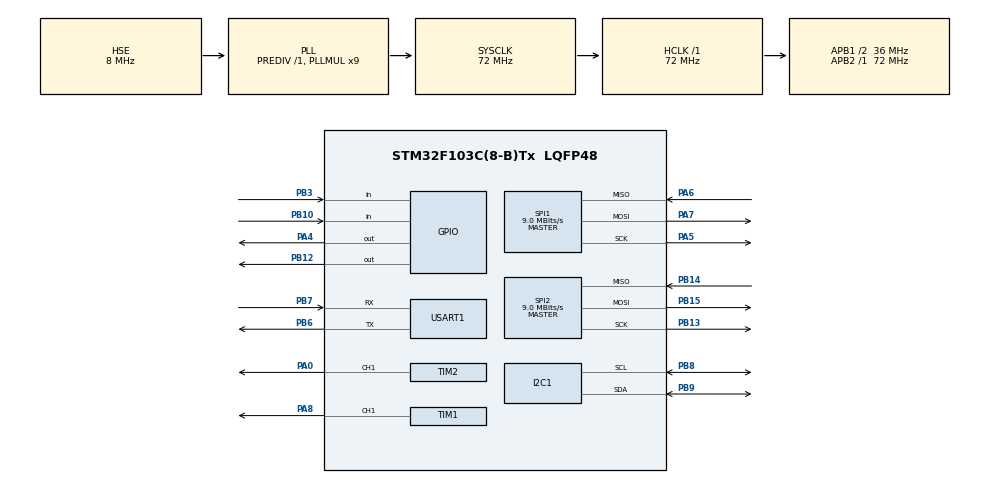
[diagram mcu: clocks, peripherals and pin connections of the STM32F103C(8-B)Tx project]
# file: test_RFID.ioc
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Mcu.Family=STM32F1
Mcu.Name=STM32F103C(8-B)Tx
Mcu.Package=LQFP48
NVIC.PriorityGroup=NVIC_PRIORITYGROUP_4
PA0-WKUP.Signal=S_TIM2_CH1_ETR
PA13.Mode=Serial_Wire
PA13.Signal=SYS_JTMS-SWDIO
PA14.Mode=Serial_Wire
PA14.Signal=SYS_JTCK-SWCLK
PA4.Signal=GPIO_Output
PA5.Mode=Full_Duplex_Master
PA5.Signal=SPI1_SCK
PA6.Mode=Full_Duplex_Master
PA6.Signal=SPI1_MISO
PA7.Mode=Full_Duplex_Master
PA7.Signal=SPI1_MOSI
PA8.Signal=S_TIM1_CH1
PB10.Signal=GPIO_Input
PB12.Signal=GPIO_Output
PB13.Mode=Full_Duplex_Master
PB13.Signal=SPI2_SCK
PB14.Mode=Full_Duplex_Master
PB14.Signal=SPI2_MISO
PB15.Mode=Full_Duplex_Master
PB15.Signal=SPI2_MOSI
PB3.Signal=GPIO_Input
PB6.Mode=Asynchronous
PB6.Signal=USART1_TX
PB7.Mode=Asynchronous
PB7.Signal=USART1_RX
PB8.Mode=I2C
PB8.Signal=I2C1_SCL
PB9.Mode=I2C
PB9.Signal=I2C1_SDA
PD0-OSC_IN.Mode=HSE-External-Oscillator
PD0-OSC_IN.Signal=RCC_OSC_IN
PD1-OSC_OUT.Mode=HSE-External-Oscillator
PD1-OSC_OUT.Signal=RCC_OSC_OUT
ProjectManager.HeapSize=0x200
ProjectManager.StackSize=0x400
ProjectManager.TargetToolchain=MDK-ARM V5
RCC.AHBFreq_Value=72000000
RCC.APB1CLKDivider=RCC_HCLK_DIV2
RCC.APB1Freq_Value=36000000
RCC.APB1TimFreq_Value=72000000
RCC.APB2Freq_Value=72000000
RCC.APB2TimFreq_Value=72000000
RCC.HCLKFreq_Value=72000000
RCC.PLLMUL=RCC_PLL_MUL9
RCC.PLLSourceVirtual=RCC_PLLSOURCE_HSE
RCC.SYSCLKFreq_VALUE=72000000
RCC.SYSCLKSource=RCC_SYSCLKSOURCE_PLLCLK
RCC.USBFreq_Value=72000000
SH.S_TIM1_CH1.0=TIM1_CH1,PWM Generation1 CH1
SH.S_TIM2_CH1_ETR.0=TIM2_CH1,PWM Generation1 CH1
SPI1.BaudRatePrescaler=SPI_BAUDRATEPRESCALER_8
SPI1.CalculateBaudRate=9.0 MBits/s
SPI1.Direction=SPI_DIRECTION_2LINES
SPI1.Mode=SPI_MODE_MASTER
SPI1.VirtualType=VM_MASTER
SPI2.BaudRatePrescaler=SPI_BAUDRATEPRESCALER_4
SPI2.CalculateBaudRate=9.0 MBits/s
SPI2.Direction=SPI_DIRECTION_2LINES
SPI2.Mode=SPI_MODE_MASTER
SPI2.VirtualType=VM_MASTER
TIM1.Channel-PWM\ Generation1\ CH1=TIM_CHANNEL_1
TIM1.Period=1000
TIM1.Prescaler=1440-1
TIM2.Channel-PWM\ Generation1\ CH1=TIM_CHANNEL_1
TIM2.Period=1000
TIM2.Prescaler=1440-1
USART1.VirtualMode=VM_ASYNC
board=custom

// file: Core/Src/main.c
/* USER CODE BEGIN Header */
/**
  ******************************************************************************
  * @file           : main.c
  * @brief          : Main program body
  ******************************************************************************
  * @attention
  *
  * <h2><center>&copy; Copyright (c) 2021 STMicroelectronics.
  * All rights reserved.</center></h2>
  *
  * This software component is licensed by ST under BSD 3-Clause license,
  * the "License"; You may not use this file except in compliance with the
  * License. You may obtain a copy of the License at:
  *                        opensource.org/licenses/BSD-3-Clause
  *
  ******************************************************************************
  */
/* USER CODE END Header */
#include "main.h"

/* USER CODE BEGIN Includes */

#include "stm32f1_rc522_spi1.h"
#include "stm32f1_rc522_spi2.h"
#include "i2c-lcd.h"
#include "stdio.h"
#include "string.h"

/* USER CODE END Includes */

/* USER CODE BEGIN PTD */

typedef struct {
	uint8_t seconds;
	uint8_t minutes;
	uint8_t hour;
	uint8_t dayofweek;
	uint8_t dayofmonth;
	uint8_t month;
	uint8_t year;
} TIME;

/* USER CODE END PTD */

/* USER CODE BEGIN PD */

/*Define address of module DS3231*/
#define DS3231_ADDRESS 0xD0U

/*Define status of sensor*/
#define VEHICLE_IN     0x00U
#define VEHICLE_OUT    0x01U

/* USER CODE END PD */

/* USER CODE BEGIN PM */

/*Macro to read sensor*/
#define STATUS_SENSOR_IN  ( HAL_GPIO_ReadPin(GPIOB,GPIO_PIN_10) )
#define STATUS_SENSOR_OUT ( HAL_GPIO_ReadPin(GPIOB,GPIO_PIN_3) )

/* USER CODE END PM */

I2C_HandleTypeDef hi2c1;

SPI_HandleTypeDef hspi1;
SPI_HandleTypeDef hspi2;

TIM_HandleTypeDef htim1;
TIM_HandleTypeDef htim2;

UART_HandleTypeDef huart1;

/* USER CODE BEGIN PV */

	TIME time;
	float TEMP;
	char buffer[15];
	uint8_t cardStatusIn;
	uint8_t bufferIn[MAX_LEN]; // Max_LEN = 16
	uint8_t serNumIn[5];

	uint8_t cardStatusOut;
	uint8_t bufferOut[MAX_LEN]; // Max_LEN = 16
	uint8_t serNumOut[5];

/* USER CODE END PV */

void SystemClock_Config(void);
static void MX_GPIO_Init(void);
static void MX_SPI2_Init(void);
static void MX_SPI1_Init(void);
static void MX_I2C1_Init(void);
static void MX_TIM1_Init(void);
static void MX_TIM2_Init(void);
static void MX_USART1_UART_Init(void);
/* USER CODE BEGIN PFP */

/*******************************************************************************
		API control servo motor
*******************************************************************************/
void openGateIn(void);
void closeGateIn(void);
void openGateOut(void);
void closeGateOut(void);

/*******************************************************************************
* API of module DS3231
*******************************************************************************/
uint8_t decToBcd(int val);
int bcdToDec(uint8_t val);
void Set_Time (uint8_t sec, uint8_t min, uint8_t hour, uint8_t dow, uint8_t dom, uint8_t month, uint8_t year);
void Get_Time (void);
float Get_Temp (void);
void force_temp_conv (void);

/*******************************************************************************
* API of module RFID
*******************************************************************************/
uint8_t getID_In(void);
uint8_t getID_OUT(void);

/*******************************************************************************
		API of modul UART
*******************************************************************************/
int fputc(int c, FILE * stream);

/* USER CODE END PFP */

/* USER CODE BEGIN 0 */

/*******************************************************************************
* API of module RFID
*******************************************************************************/
uint8_t getID_In(void)
{
	cardStatusIn = MFRC522_Request(PICC_REQIDL, bufferIn);
	cardStatusIn = MFRC522_Anticoll(bufferIn);
	memcpy(serNumIn, bufferIn, 5);

		return cardStatusIn;
}

uint8_t getID_OUT(void)
{
	cardStatusOut = MFRC522_Request_2(PICC_REQIDL, bufferOut);
	cardStatusOut = MFRC522_Anticoll_2(bufferOut);
	memcpy(serNumOut, bufferOut, 5);

	return cardStatusOut;
}

/*******************************************************************************
* API of module DS3231
*******************************************************************************/
uint8_t decToBcd(int val)
{
  return (uint8_t)( (val/10*16) + (val%10) );
}
int bcdToDec(uint8_t val)
{
  return (int)( (val/16*10) + (val%16) );
}

void Set_Time (uint8_t sec, uint8_t min, uint8_t hour, uint8_t dow, uint8_t dom, uint8_t month, uint8_t year)
{
	uint8_t set_time[7];
	set_time[0] = decToBcd(sec);
	set_time[1] = decToBcd(min);
	set_time[2] = decToBcd(hour);
	set_time[3] = decToBcd(dow);
	set_time[4] = decToBcd(dom);
	set_time[5] = decToBcd(month);
	set_time[6] = decToBcd(year);

	HAL_I2C_Mem_Write(&hi2c1, DS3231_ADDRESS, 0x00, 1, set_time, 7, 1000);
}
void Get_Time (void)
{
	uint8_t get_time[7];
	HAL_I2C_Mem_Read(&hi2c1, DS3231_ADDRESS, 0x00, 1, get_time, 7, 1000);
	time.seconds = bcdToDec(get_time[0]);
	time.minutes = bcdToDec(get_time[1]);
	time.hour = bcdToDec(get_time[2]);
	time.dayofweek = bcdToDec(get_time[3]);
	time.dayofmonth = bcdToDec(get_time[4]);
	time.month = bcdToDec(get_time[5]);
	time.year = bcdToDec(get_time[6]);
}

float Get_Temp (void)
{
	uint8_t temp[2];

	HAL_I2C_Mem_Read(&hi2c1, DS3231_ADDRESS, 0x11, 1, temp, 2, 1000);
	return ((temp[0])+(temp[1]>>6)/4.0);
}

void force_temp_conv (void)
{
	uint8_t status=0;
	uint8_t control=0;
	HAL_I2C_Mem_Read(&hi2c1, DS3231_ADDRESS, 0x0F, 1, &status, 1, 100);  // read status register
	if (!(status&0x04))
	{
		HAL_I2C_Mem_Read(&hi2c1, DS3231_ADDRESS, 0x0E, 1, &control, 1, 100);  // read control register
		HAL_I2C_Mem_Write(&hi2c1, DS3231_ADDRESS, 0x0E, 1, (uint8_t *)(control|(0x20)), 1, 100);
	}
}

/*******************************************************************************
		API control servo motor
*******************************************************************************/
void openGateIn(void)
{
		htim1.Instance-> CCR1=125;
}

void closeGateIn(void)
{

		htim1.Instance-> CCR1=75;
}

void openGateOut(void)
{
		htim2.Instance-> CCR1=125;
}
void closeGateOut(void)
{
		htim2.Instance-> CCR1=75;
}

/*******************************************************************************
		API of modul UART
*******************************************************************************/

int fputc(int c, FILE * stream)
{
	HAL_UART_Transmit(&huart1,(uint8_t *)&c,1,1);
	return 0;
}

/* USER CODE END 0 */

int main(void)
{

  /* MCU Configuration--------------------------------------------------------*/

  /* Reset of all peripherals, Initializes the Flash interface and the Systick. */
  HAL_Init();

  /* Configure the system clock */
  SystemClock_Config();

  /* Initialize all configured peripherals */
  MX_GPIO_Init();
  MX_SPI2_Init();
  MX_SPI1_Init();
  MX_I2C1_Init();
  MX_TIM1_Init();
  MX_TIM2_Init();
  MX_USART1_UART_Init();
  /* USER CODE BEGIN 2 */

	/*Init module RFID */
	MFRC522_Init_2();
	MFRC522_Init();

	/*Init TIM1 , TIM2 to generate PWM pulse*/
	HAL_TIM_PWM_Start(&htim1,TIM_CHANNEL_1);
	HAL_TIM_PWM_Start(&htim2,TIM_CHANNEL_1);

	/*Init module I2c with LCD*/
	lcd_init ();

  /* USER CODE END 2 */

  /* Infinite loop */
  while (1)
  {
  }
}

void SystemClock_Config(void)
{
  RCC_OscInitTypeDef RCC_OscInitStruct = {0};
  RCC_ClkInitTypeDef RCC_ClkInitStruct = {0};

  /** Initializes the RCC Oscillators according to the specified parameters
  * in the RCC_OscInitTypeDef structure.
  */
  RCC_OscInitStruct.OscillatorType = RCC_OSCILLATORTYPE_HSE;
  RCC_OscInitStruct.HSEState = RCC_HSE_ON;
  RCC_OscInitStruct.HSEPredivValue = RCC_HSE_PREDIV_DIV1;
  RCC_OscInitStruct.HSIState = RCC_HSI_ON;
  RCC_OscInitStruct.PLL.PLLState = RCC_PLL_ON;
  RCC_OscInitStruct.PLL.PLLSource = RCC_PLLSOURCE_HSE;
  RCC_OscInitStruct.PLL.PLLMUL = RCC_PLL_MUL9;
  if (HAL_RCC_OscConfig(&RCC_OscInitStruct) != HAL_OK)
  {
    Error_Handler();
  }
  /** Initializes the CPU, AHB and APB buses clocks
  */
  RCC_ClkInitStruct.ClockType = RCC_CLOCKTYPE_HCLK|RCC_CLOCKTYPE_SYSCLK
                              |RCC_CLOCKTYPE_PCLK1|RCC_CLOCKTYPE_PCLK2;
  RCC_ClkInitStruct.SYSCLKSource = RCC_SYSCLKSOURCE_PLLCLK;
  RCC_ClkInitStruct.AHBCLKDivider = RCC_SYSCLK_DIV1;
  RCC_ClkInitStruct.APB1CLKDivider = RCC_HCLK_DIV2;
  RCC_ClkInitStruct.APB2CLKDivider = RCC_HCLK_DIV1;

  if (HAL_RCC_ClockConfig(&RCC_ClkInitStruct, FLASH_LATENCY_2) != HAL_OK)
  {
    Error_Handler();
  }
}

static void MX_I2C1_Init(void)
{

  hi2c1.Instance = I2C1;
  hi2c1.Init.ClockSpeed = 100000;
  hi2c1.Init.DutyCycle = I2C_DUTYCYCLE_2;
  hi2c1.Init.OwnAddress1 = 0;
  hi2c1.Init.AddressingMode = I2C_ADDRESSINGMODE_7BIT;
  hi2c1.Init.DualAddressMode = I2C_DUALADDRESS_DISABLE;
  hi2c1.Init.OwnAddress2 = 0;
  hi2c1.Init.GeneralCallMode = I2C_GENERALCALL_DISABLE;
  hi2c1.Init.NoStretchMode = I2C_NOSTRETCH_DISABLE;
  if (HAL_I2C_Init(&hi2c1) != HAL_OK)
  {
    Error_Handler();
  }

}

static void MX_SPI1_Init(void)
{

  /* SPI1 parameter configuration*/
  hspi1.Instance = SPI1;
  hspi1.Init.Mode = SPI_MODE_MASTER;
  hspi1.Init.Direction = SPI_DIRECTION_2LINES;
  hspi1.Init.DataSize = SPI_DATASIZE_8BIT;
  hspi1.Init.CLKPolarity = SPI_POLARITY_LOW;
  hspi1.Init.CLKPhase = SPI_PHASE_1EDGE;
  hspi1.Init.NSS = SPI_NSS_SOFT;
  hspi1.Init.BaudRatePrescaler = SPI_BAUDRATEPRESCALER_8;
  hspi1.Init.FirstBit = SPI_FIRSTBIT_MSB;
  hspi1.Init.TIMode = SPI_TIMODE_DISABLE;
  hspi1.Init.CRCCalculation = SPI_CRCCALCULATION_DISABLE;
  hspi1.Init.CRCPolynomial = 10;
  if (HAL_SPI_Init(&hspi1) != HAL_OK)
  {
    Error_Handler();
  }

}

static void MX_SPI2_Init(void)
{

  /* SPI2 parameter configuration*/
  hspi2.Instance = SPI2;
  hspi2.Init.Mode = SPI_MODE_MASTER;
  hspi2.Init.Direction = SPI_DIRECTION_2LINES;
  hspi2.Init.DataSize = SPI_DATASIZE_8BIT;
  hspi2.Init.CLKPolarity = SPI_POLARITY_LOW;
  hspi2.Init.CLKPhase = SPI_PHASE_1EDGE;
  hspi2.Init.NSS = SPI_NSS_SOFT;
  hspi2.Init.BaudRatePrescaler = SPI_BAUDRATEPRESCALER_4;
  hspi2.Init.FirstBit = SPI_FIRSTBIT_MSB;
  hspi2.Init.TIMode = SPI_TIMODE_DISABLE;
  hspi2.Init.CRCCalculation = SPI_CRCCALCULATION_DISABLE;
  hspi2.Init.CRCPolynomial = 10;
  if (HAL_SPI_Init(&hspi2) != HAL_OK)
  {
    Error_Handler();
  }

}

static void MX_TIM1_Init(void)
{

  TIM_MasterConfigTypeDef sMasterConfig = {0};
  TIM_OC_InitTypeDef sConfigOC = {0};
  TIM_BreakDeadTimeConfigTypeDef sBreakDeadTimeConfig = {0};

  htim1.Instance = TIM1;
  htim1.Init.Prescaler = 1440-1;
  htim1.Init.CounterMode = TIM_COUNTERMODE_UP;
  htim1.Init.Period = 1000;
  htim1.Init.ClockDivision = TIM_CLOCKDIVISION_DIV1;
  htim1.Init.RepetitionCounter = 0;
  htim1.Init.AutoReloadPreload = TIM_AUTORELOAD_PRELOAD_DISABLE;
  if (HAL_TIM_PWM_Init(&htim1) != HAL_OK)
  {
    Error_Handler();
  }
  sMasterConfig.MasterOutputTrigger = TIM_TRGO_RESET;
  sMasterConfig.MasterSlaveMode = TIM_MASTERSLAVEMODE_DISABLE;
  if (HAL_TIMEx_MasterConfigSynchronization(&htim1, &sMasterConfig) != HAL_OK)
  {
    Error_Handler();
  }
  sConfigOC.OCMode = TIM_OCMODE_PWM1;
  sConfigOC.Pulse = 0;
  sConfigOC.OCPolarity = TIM_OCPOLARITY_HIGH;
  sConfigOC.OCNPolarity = TIM_OCNPOLARITY_HIGH;
  sConfigOC.OCFastMode = TIM_OCFAST_DISABLE;
  sConfigOC.OCIdleState = TIM_OCIDLESTATE_RESET;
  sConfigOC.OCNIdleState = TIM_OCNIDLESTATE_RESET;
  if (HAL_TIM_PWM_ConfigChannel(&htim1, &sConfigOC, TIM_CHANNEL_1) != HAL_OK)
  {
    Error_Handler();
  }
  sBreakDeadTimeConfig.OffStateRunMode = TIM_OSSR_DISABLE;
  sBreakDeadTimeConfig.OffStateIDLEMode = TIM_OSSI_DISABLE;
  sBreakDeadTimeConfig.LockLevel = TIM_LOCKLEVEL_OFF;
  sBreakDeadTimeConfig.DeadTime = 0;
  sBreakDeadTimeConfig.BreakState = TIM_BREAK_DISABLE;
  sBreakDeadTimeConfig.BreakPolarity = TIM_BREAKPOLARITY_HIGH;
  sBreakDeadTimeConfig.AutomaticOutput = TIM_AUTOMATICOUTPUT_DISABLE;
  if (HAL_TIMEx_ConfigBreakDeadTime(&htim1, &sBreakDeadTimeConfig) != HAL_OK)
  {
    Error_Handler();
  }
  HAL_TIM_MspPostInit(&htim1);

}

static void MX_TIM2_Init(void)
{

  TIM_MasterConfigTypeDef sMasterConfig = {0};
  TIM_OC_InitTypeDef sConfigOC = {0};

  htim2.Instance = TIM2;
  htim2.Init.Prescaler = 1440-1;
  htim2.Init.CounterMode = TIM_COUNTERMODE_UP;
  htim2.Init.Period = 1000;
  htim2.Init.ClockDivision = TIM_CLOCKDIVISION_DIV1;
  htim2.Init.AutoReloadPreload = TIM_AUTORELOAD_PRELOAD_DISABLE;
  if (HAL_TIM_PWM_Init(&htim2) != HAL_OK)
  {
    Error_Handler();
  }
  sMasterConfig.MasterOutputTrigger = TIM_TRGO_RESET;
  sMasterConfig.MasterSlaveMode = TIM_MASTERSLAVEMODE_DISABLE;
  if (HAL_TIMEx_MasterConfigSynchronization(&htim2, &sMasterConfig) != HAL_OK)
  {
    Error_Handler();
  }
  sConfigOC.OCMode = TIM_OCMODE_PWM1;
  sConfigOC.Pulse = 0;
  sConfigOC.OCPolarity = TIM_OCPOLARITY_HIGH;
  sConfigOC.OCFastMode = TIM_OCFAST_DISABLE;
  if (HAL_TIM_PWM_ConfigChannel(&htim2, &sConfigOC, TIM_CHANNEL_1) != HAL_OK)
  {
    Error_Handler();
  }
  HAL_TIM_MspPostInit(&htim2);

}

static void MX_USART1_UART_Init(void)
{

  huart1.Instance = USART1;
  huart1.Init.BaudRate = 115200;
  huart1.Init.WordLength = UART_WORDLENGTH_8B;
  huart1.Init.StopBits = UART_STOPBITS_1;
  huart1.Init.Parity = UART_PARITY_NONE;
  huart1.Init.Mode = UART_MODE_TX_RX;
  huart1.Init.HwFlowCtl = UART_HWCONTROL_NONE;
  huart1.Init.OverSampling = UART_OVERSAMPLING_16;
  if (HAL_UART_Init(&huart1) != HAL_OK)
  {
    Error_Handler();
  }

}

static void MX_GPIO_Init(void)
{
  GPIO_InitTypeDef GPIO_InitStruct = {0};

  /* GPIO Ports Clock Enable */
  __HAL_RCC_GPIOD_CLK_ENABLE();
  __HAL_RCC_GPIOA_CLK_ENABLE();
  __HAL_RCC_GPIOB_CLK_ENABLE();

  /*Configure GPIO pin Output Level */
  HAL_GPIO_WritePin(GPIOA, GPIO_PIN_4, GPIO_PIN_RESET);

  /*Configure GPIO pin Output Level */
  HAL_GPIO_WritePin(GPIOB, GPIO_PIN_12, GPIO_PIN_RESET);

  /*Configure GPIO pin : PA4 */
  GPIO_InitStruct.Pin = GPIO_PIN_4;
  GPIO_InitStruct.Mode = GPIO_MODE_OUTPUT_PP;
  GPIO_InitStruct.Pull = GPIO_NOPULL;
  GPIO_InitStruct.Speed = GPIO_SPEED_FREQ_LOW;
  HAL_GPIO_Init(GPIOA, &GPIO_InitStruct);

  /*Configure GPIO pins : PB10 PB3 */
  GPIO_InitStruct.Pin = GPIO_PIN_10|GPIO_PIN_3;
  GPIO_InitStruct.Mode = GPIO_MODE_INPUT;
  GPIO_InitStruct.Pull = GPIO_NOPULL;
  HAL_GPIO_Init(GPIOB, &GPIO_InitStruct);

  /*Configure GPIO pin : PB12 */
  GPIO_InitStruct.Pin = GPIO_PIN_12;
  GPIO_InitStruct.Mode = GPIO_MODE_OUTPUT_PP;
  GPIO_InitStruct.Pull = GPIO_NOPULL;
  GPIO_InitStruct.Speed = GPIO_SPEED_FREQ_LOW;
  HAL_GPIO_Init(GPIOB, &GPIO_InitStruct);

}

void Error_Handler(void)
{
}

/************************ (C) COPYRIGHT STMicroelectronics *****END OF FILE****/
